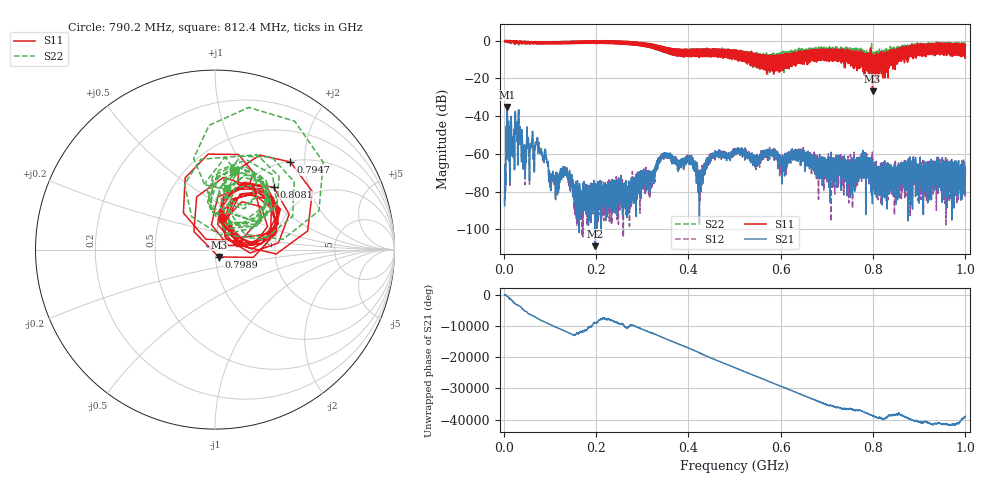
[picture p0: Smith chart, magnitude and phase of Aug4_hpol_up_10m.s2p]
!Keysight Technologies N9923A: A.12.45
!Date: Tuesday, 05 August 2025 19:43:05
!Timezone: (UTC+08:00) Kuala Lumpur, Singapore
!Model: N9923A
!Serial: MY61181427
!GPS Latitude:
!GPS Longitude:
!GPS TimeStamp: 0001-01-01 00:00:00Z
!GPS Seconds Since Last Read: 0
!CHECKSUM:0131955479
!Correction: S11(ON U)S21(ON U)S12(ON U)S22(ON U)
!S2P File: Measurements:S11,S21,S12,S22:
# Hz S DB R 50
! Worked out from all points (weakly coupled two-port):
!   4001 points, 2 MHz to 1 GHz, reference 50 ohm
!   highest |S21| = -35.15 dB at 7.489 MHz (marker M1); lowest = -108.9 dB at 198.4 MHz (marker M2)
!   lowest |S11| = -26.8 dB at 798.9 MHz (marker M3), VSWR 1.10, Z = 51.9 - j4.25 ohm
!   |S11| at or under -10 dB: 564.1141 MHz to 564.9725 MHz (858.4 kHz wide, 0.152 % of centre); 565.7939 MHz to 566.6736 MHz (879.7 kHz wide, 0.155 % of centre); 572.5302 MHz to 573.4711 MHz (940.9 kHz wide, 0.164 % of centre)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
!   |S22| runs from -21.2 to 0.1 dB; largest |S21 - S12| = 0.0012
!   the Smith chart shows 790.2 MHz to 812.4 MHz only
!   S11 on the Smith chart (normalised r, x): 790.2 MHz: 1.01, +0.37; 794.7 MHz: 1.02, +1.70; 798.9 MHz: 1.04, -0.09; 808.1 MHz: 1.35, +1.21; 812.4 MHz: 1.30, +0.09
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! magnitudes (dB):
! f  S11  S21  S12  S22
! 2 MHz  -0.1  -87.5  -86.1  -0.1
! 7.489 MHz  -0.8  -35.1  -35.0  -1.0
! 28.95 MHz  -1.0  -45.9  -46.1  -0.6
! 44.91 MHz  -0.4  -58.0  -58.3  -0.5
! 72.11 MHz  -0.6  -52.5  -52.0  -0.8
! 102.3 MHz  -0.6  -79.5  -77.2  -0.5
! 168.4 MHz  -1.4  -94.6  -80.5  -1.2
! 198.4 MHz  -0.8  -108.9  -84.9  -0.4
! 270.2 MHz  -0.6  -85.4  -85.8  -0.4
! 334.8 MHz  -4.1  -65.6  -64.9  -4.9
! 401.9 MHz  -5.4  -65.5  -62.9  -6.4
! 426.4 MHz  -7.9  -72.5  -72.7  -6.2
! 452.3 MHz  -4.7  -60.8  -61.2  -6.5
! 501 MHz  -6.6  -59.5  -58.0  -8.4
! 667.4 MHz  -10.1  -65.1  -61.9  -6.6
! 790.2 MHz  -14.9  -65.5  -63.6  -6.9
! 794.7 MHz  -3.8  -75.2  -64.8  -8.7
! 798.9 MHz  -26.8  -71.0  -78.0  -7.9
! 808.1 MHz  -6.4  -68.1  -79.8  -9.6
! 812.4 MHz  -17.3  -69.6  -69.5  -9.1
! 833.8 MHz  -7.9  -74.9  -71.7  -4.9
! 1 GHz  -2.2  -69.7  -69.3  -5.8
